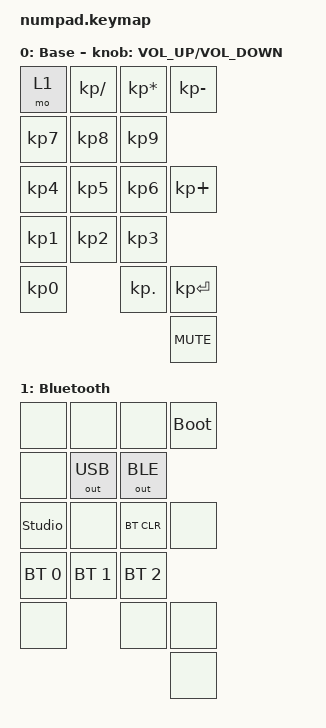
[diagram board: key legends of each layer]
#include <behaviors.dtsi>
#include <dt-bindings/zmk/keys.h>
#include <dt-bindings/zmk/bt.h>
#include <dt-bindings/zmk/outputs.h>
#include "numpad-layouts.dtsi"



/ {
    keymap {
        compatible = "zmk,keymap";

        default_layer {
            display-name = "Base";
            sensor-bindings = <&inc_dec_kp C_VOLUME_UP C_VOLUME_DOWN>;

            bindings = <
                &mo 1           &kp KP_SLASH    &kp KP_ASTERISK  &kp KP_MINUS
                &kp KP_N7       &kp KP_N8       &kp KP_N9       
                &kp KP_N4       &kp KP_N5       &kp KP_N6        &kp KP_PLUS
                &kp KP_N1       &kp KP_N2       &kp KP_N3        
                &kp KP_N0                       &kp KP_DOT       &kp KP_ENTER
                                                                 &kp C_MUTE
            >;
        
        };

        bt_layer {
            display-name = "Bluetooth";
            bindings = <
                &none           &none           &none            &bootloader
                &none           &out OUT_USB    &out OUT_BLE            
                &studio_unlock  &none           &bt BT_CLR       &none
                &bt BT_SEL 0    &bt BT_SEL 1    &bt BT_SEL 2    
                &none                           &none            &none
                                                                 &none
            >;
        };
    };
};
